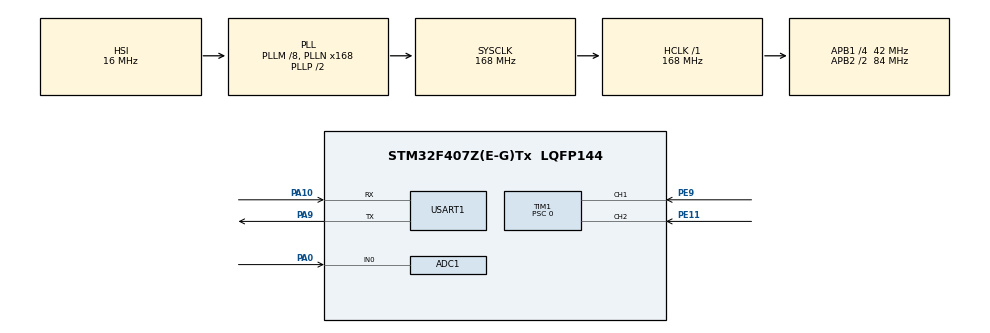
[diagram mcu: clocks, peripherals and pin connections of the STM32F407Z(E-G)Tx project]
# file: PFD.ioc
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ADC1.Channel-0\#ChannelRegularConversion=ADC_CHANNEL_0
ADC1.ExternalTrigConv=ADC_EXTERNALTRIGCONV_T3_TRGO
ADC1.NbrOfConversion=1
ADC1.NbrOfConversionFlag=1
ADC1.Rank-0\#ChannelRegularConversion=1
ADC1.SamplingTime-0\#ChannelRegularConversion=ADC_SAMPLETIME_3CYCLES
ADC1.master=1
Dma.ADC1.0.Direction=DMA_PERIPH_TO_MEMORY
Dma.ADC1.0.FIFOMode=DMA_FIFOMODE_DISABLE
Dma.ADC1.0.Instance=DMA2_Stream0
Dma.ADC1.0.MemDataAlignment=DMA_MDATAALIGN_HALFWORD
Dma.ADC1.0.MemInc=DMA_MINC_ENABLE
Dma.ADC1.0.Mode=DMA_NORMAL
Dma.ADC1.0.PeriphDataAlignment=DMA_PDATAALIGN_HALFWORD
Dma.ADC1.0.PeriphInc=DMA_PINC_DISABLE
Dma.ADC1.0.Priority=DMA_PRIORITY_LOW
Dma.Request0=ADC1
Mcu.Family=STM32F4
Mcu.Name=STM32F407Z(E-G)Tx
Mcu.Package=LQFP144
NVIC.DMA2_Stream0_IRQn=true\:0\:0\:false\:false\:true\:false\:true\:true
NVIC.PriorityGroup=NVIC_PRIORITYGROUP_4
NVIC.TIM1_CC_IRQn=true\:0\:0\:false\:false\:true\:true\:true\:true
PA0-WKUP.Signal=ADCx_IN0
PA10.Mode=Asynchronous
PA10.Signal=USART1_RX
PA13.Mode=Serial_Wire
PA13.Signal=SYS_JTMS-SWDIO
PA14.Mode=Serial_Wire
PA14.Signal=SYS_JTCK-SWCLK
PA9.Mode=Asynchronous
PA9.Signal=USART1_TX
PE11.GPIO_ModeDefaultPP=GPIO_MODE_AF_PP
PE11.GPIO_PuPd=GPIO_NOPULL
PE11.GPIO_Speed=GPIO_SPEED_FREQ_LOW
PE11.Signal=S_TIM1_CH2
PE9.GPIO_ModeDefaultPP=GPIO_MODE_AF_PP
PE9.GPIO_PuPd=GPIO_NOPULL
PE9.GPIO_Speed=GPIO_SPEED_FREQ_LOW
PE9.Signal=S_TIM1_CH1
PH0-OSC_IN.Mode=HSE-External-Oscillator
PH0-OSC_IN.Signal=RCC_OSC_IN
PH1-OSC_OUT.Mode=HSE-External-Oscillator
PH1-OSC_OUT.Signal=RCC_OSC_OUT
ProjectManager.HeapSize=0x200
ProjectManager.StackSize=0x400
ProjectManager.TargetToolchain=MDK-ARM V5.32
RCC.48MHZClocksFreq_Value=84000000
RCC.AHBFreq_Value=168000000
RCC.APB1CLKDivider=RCC_HCLK_DIV4
RCC.APB1Freq_Value=42000000
RCC.APB1TimFreq_Value=84000000
RCC.APB2CLKDivider=RCC_HCLK_DIV2
RCC.APB2Freq_Value=84000000
RCC.APB2TimFreq_Value=168000000
RCC.CortexFreq_Value=168000000
RCC.HCLKFreq_Value=168000000
RCC.HSE_VALUE=25000000
RCC.HSI_VALUE=16000000
RCC.LSE_VALUE=32768
RCC.PLLM=8
RCC.PLLN=168
RCC.SYSCLKFreq_VALUE=168000000
RCC.SYSCLKSource=RCC_SYSCLKSOURCE_PLLCLK
RCC.VCOOutputFreq_Value=336000000
SH.ADCx_IN0.0=ADC1_IN0,IN0
SH.S_TIM1_CH1.0=TIM1_CH1,Input_Capture1_from_TI1
SH.S_TIM1_CH2.0=TIM1_CH2,Input_Capture2_from_TI2
TIM1.AutoReloadPreload=TIM_AUTORELOAD_PRELOAD_ENABLE
TIM1.Channel-Input_Capture1_from_TI1=TIM_CHANNEL_1
TIM1.Channel-Input_Capture2_from_TI2=TIM_CHANNEL_2
TIM1.ICFilter_CH1=4
TIM1.ICFilter_CH2=4
TIM1.Period=82-1
TIM1.Prescaler=0
TIM3.AutoReloadPreload=TIM_AUTORELOAD_PRELOAD_ENABLE
TIM3.Period=82-1
TIM3.TIM_MasterOutputTrigger=TIM_TRGO_UPDATE
USART1.VirtualMode=VM_ASYNC
VP_TIM1_VS_ClockSourceINT.Mode=Internal
VP_TIM3_VS_ClockSourceINT.Mode=Internal
board=custom

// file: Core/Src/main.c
/* USER CODE BEGIN Header */
/**
  ******************************************************************************
  * @file           : main.c
  * @brief          : Main program body
  ******************************************************************************
  * @attention
  *
  * Copyright (c) 2025 STMicroelectronics.
  * All rights reserved.
  *
  * This software is licensed under terms that can be found in the LICENSE file
  * in the root directory of this software component.
  * If no LICENSE file comes with this software, it is provided AS-IS.
  *
  ******************************************************************************
  */
/* USER CODE END Header */
#include "main.h"
#include "adc.h"
#include "dma.h"
#include "tim.h"
#include "usart.h"
#include "gpio.h"

/* USER CODE BEGIN Includes */
#include "stdio.h"
#include "stm32f4xx_hal.h"
#include "arm_math.h"
#include "arm_const_structs.h"
/* USER CODE END Includes */

/* USER CODE BEGIN PV */
#define FFT_SIZE 1024
#define SAMPLE_RATE 20000  // 采样率，单位 Hz

uint16_t adc_buffer[FFT_SIZE];
float32_t fft_input[2 * FFT_SIZE];  // 实部/虚部交错
float32_t fft_mag[FFT_SIZE];
uint32_t captureA = 0;
uint32_t captureB = 0;
uint8_t A_ready = 0, B_ready = 0;
__IO uint8_t AdcConvEnd = 0;
/* USER CODE END PV */

void SystemClock_Config(void);

int main(void)
{

  /* MCU Configuration--------------------------------------------------------*/

  /* Reset of all peripherals, Initializes the Flash interface and the Systick. */
  HAL_Init();

  /* USER CODE BEGIN Init */
HAL_ADC_Start_DMA(&hadc1, (uint32_t*)adc_buffer, FFT_SIZE);
  /* USER CODE END Init */

  /* Configure the system clock */
  SystemClock_Config();

  /* Initialize all configured peripherals */
  MX_GPIO_Init();
  MX_DMA_Init();
  MX_TIM1_Init();
  MX_USART1_UART_Init();
  MX_ADC1_Init();
  MX_TIM3_Init();
  /* USER CODE BEGIN 2 */
 HAL_TIM_IC_Start_IT(&htim1, TIM_CHANNEL_1);
 HAL_TIM_IC_Start_IT(&htim1, TIM_CHANNEL_2);
// printf("PFD系统启动\n");
  /* USER CODE END 2 */

  /* Infinite loop */
  /* USER CODE BEGIN WHILE */
  while (1)
  {
//		 if (A_ready && B_ready)
//        {
//            int32_t delta = (int32_t)captureA - (int32_t)captureB;
//            if (delta < 0) delta += 0xFFFF;

//            float T_us = 1000.0f;  // 假设周期为 1000us（需根据实际频率计算）
//            float delta_t = delta * 1.0f;  // 每个计数单位 = 1us
//            float phase = (delta_t / T_us) * 360.0f;

//            printf("Δt = %.0f us, 相位差 = %.2f°\r\n", delta_t, phase);

//            A_ready = 0;
//            B_ready = 0;
//        }
    /* USER CODE END WHILE */

  }
}

void SystemClock_Config(void)
{
  RCC_OscInitTypeDef RCC_OscInitStruct = {0};
  RCC_ClkInitTypeDef RCC_ClkInitStruct = {0};

  /** Configure the main internal regulator output voltage
  */
  __HAL_RCC_PWR_CLK_ENABLE();
  __HAL_PWR_VOLTAGESCALING_CONFIG(PWR_REGULATOR_VOLTAGE_SCALE1);

  /** Initializes the RCC Oscillators according to the specified parameters
  * in the RCC_OscInitTypeDef structure.
  */
  RCC_OscInitStruct.OscillatorType = RCC_OSCILLATORTYPE_HSI;
  RCC_OscInitStruct.HSIState = RCC_HSI_ON;
  RCC_OscInitStruct.HSICalibrationValue = RCC_HSICALIBRATION_DEFAULT;
  RCC_OscInitStruct.PLL.PLLState = RCC_PLL_ON;
  RCC_OscInitStruct.PLL.PLLSource = RCC_PLLSOURCE_HSI;
  RCC_OscInitStruct.PLL.PLLM = 8;
  RCC_OscInitStruct.PLL.PLLN = 168;
  RCC_OscInitStruct.PLL.PLLP = RCC_PLLP_DIV2;
  RCC_OscInitStruct.PLL.PLLQ = 4;
  if (HAL_RCC_OscConfig(&RCC_OscInitStruct) != HAL_OK)
  {
    Error_Handler();
  }

  /** Initializes the CPU, AHB and APB buses clocks
  */
  RCC_ClkInitStruct.ClockType = RCC_CLOCKTYPE_HCLK|RCC_CLOCKTYPE_SYSCLK
                              |RCC_CLOCKTYPE_PCLK1|RCC_CLOCKTYPE_PCLK2;
  RCC_ClkInitStruct.SYSCLKSource = RCC_SYSCLKSOURCE_PLLCLK;
  RCC_ClkInitStruct.AHBCLKDivider = RCC_SYSCLK_DIV1;
  RCC_ClkInitStruct.APB1CLKDivider = RCC_HCLK_DIV4;
  RCC_ClkInitStruct.APB2CLKDivider = RCC_HCLK_DIV2;

  if (HAL_RCC_ClockConfig(&RCC_ClkInitStruct, FLASH_LATENCY_5) != HAL_OK)
  {
    Error_Handler();
  }
}

/* USER CODE BEGIN 4 */
//void HAL_TIM_IC_CaptureCallback(TIM_HandleTypeDef *htim)
//{
//    if(htim->Instance == TIM1)
//    {
//        if(htim->Channel == HAL_TIM_ACTIVE_CHANNEL_1)
//        {
//            captureA = HAL_TIM_ReadCapturedValue(htim, TIM_CHANNEL_1);
//            A_ready = 1;
//        }
//        else if(htim->Channel == HAL_TIM_ACTIVE_CHANNEL_2)
//        {
//            captureB = HAL_TIM_ReadCapturedValue(htim, TIM_CHANNEL_2);
//            B_ready = 1;
//        }
//    }
//}
void HAL_ADC_ConvCpltCallback(ADC_HandleTypeDef* hadc)
{
	while (!AdcConvEnd)                                   //等待转换完毕
    ;
    for (int i = 0; i < FFT_SIZE; i++)
    {
        fft_input[2*i]   = ((float32_t)adc_buffer[i] - 2048.0f);  // 实部（去直流）
        fft_input[2*i+1] = 0.0f;                                  // 虚部
    }

    // 计算 FFT
    arm_cfft_radix4_instance_f32 S;
    arm_cfft_radix4_init_f32(&S, FFT_SIZE, 0, 1);
    arm_cfft_radix4_f32(&S, fft_input);

    // 计算幅度
    for (int i = 0; i < FFT_SIZE; i++)
    {
        float real = fft_input[2*i];
        float imag = fft_input[2*i+1];
        fft_mag[i] = sqrtf(real*real + imag*imag);
    }

    // 寻找主频点
    uint32_t maxIndex = 0;
    float32_t maxValue = 0;
    arm_max_f32(fft_mag, FFT_SIZE / 2, &maxValue, &maxIndex);

    // 相位角（单位：弧度）
    float32_t phase_rad = atan2f(fft_input[2*maxIndex+1], fft_input[2*maxIndex]);
    float32_t freq = ((float)SAMPLE_RATE / FFT_SIZE) * maxIndex;

    printf("Freq: %.2f Hz, Phase: %.2f deg\n", freq, phase_rad * 180.0f / PI);
}
/* USER CODE END 4 */

void Error_Handler(void)
{
  __disable_irq();
  while (1)
  {
  }
}
